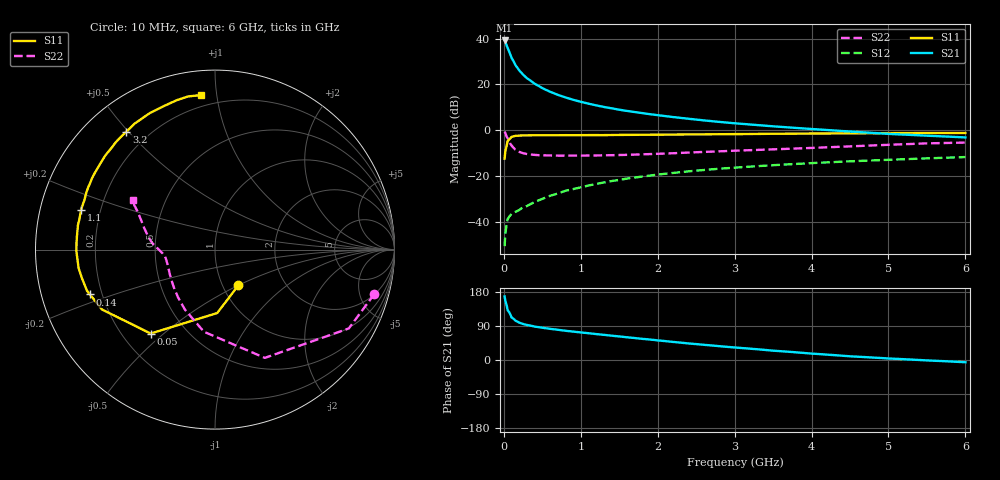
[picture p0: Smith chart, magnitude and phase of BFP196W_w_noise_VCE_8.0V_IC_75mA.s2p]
! Infineon Technologies  Discrete & RF Semiconductors
! BFP196W
! VCE =  8.0 V,  IC =  75 mA
! Common Emitter S-Parameters:  Jan 2017
# GHz  S  MA  R  50
!  f  S11  S21  S12  S22
! GHz  MAG  ANG  MAG  ANG  MAG  ANG  MAG  ANG
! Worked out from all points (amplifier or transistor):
!   77 points, 10 MHz to 6 GHz, reference 50 ohm
!   highest |S21| = 39.2 dB at 10 MHz (marker M1)
!   |S21| within 3 dB of that: start of sweep to 45.79 MHz
!   unconditionally stable (mu >= 1): 607.1 MHz to 3.244 GHz
!   at 130 MHz: K = 0.49, MSG = 33.0 dB, |S12| = -36.1 dB
!   at 2.2 GHz: K = 1.04, MAG = 11.0 dB, |S12| = -18.7 dB
!   at 6 GHz: K = 0.93, MSG = 4.3 dB, |S12| = -11.8 dB
!   lowest NFmin = 1.62 dB at 450 MHz
!   S11 on the Smith chart (normalised r, x): 10 MHz: 1.19, -0.50; 50 MHz: 0.32, -0.45; 140 MHz: 0.15, -0.17; 1.1 GHz: 0.13, +0.14; 3.2 GHz: 0.12, +0.49; 6 GHz: 0.13, +0.91
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0.01  0.238 -56.8  91.33 167.7  0.0029 78.9  0.9217 -15.6
0.02  0.3536 -88.0  85.06 155.7  0.0056 75.8  0.8653 -30.5
0.05  0.5894 -127.5  62.17 131.1  0.0114 50.2  0.664 -65.3
0.1  0.713 -152.1  38.07 112.3  0.0148 46.1  0.4621 -97.6
0.14  0.7403 -160.3  28.86 106.1  0.016 45.0  0.3881 -112.1
0.15  0.7493 -162.2  26.64 103.9  0.0163 44.8  0.3744 -116.5
0.2  0.7587 -168.0  20.28 98.7  0.0179 48.3  0.3354 -128.1
0.25  0.7668 -172.2  16.36 95.0  0.0206 50.7  0.3127 -136.8
0.3  0.7677 -175.0  13.67 92.4  0.0219 51.8  0.3001 -142.7
0.4  0.7724 -179.4  10.34 88.2  0.0267 56.8  0.2873 -151.0
0.5  0.7725 177.2  8.279 85.1  0.0314 60.3  0.2809 -156.3
0.6  0.7727 174.5  6.919 82.3  0.0366 61.7  0.2795 -160.0
0.7  0.7736 172.2  5.929 79.9  0.041 63.3  0.2769 -162.8
0.9  0.7743 167.5  4.61 75.0  0.0513 64.0  0.2772 -166.5
1.1  0.7784 163.4  3.792 70.7  0.0614 64.6  0.2784 -169.2
1.5  0.7848 155.7  2.795 62.2  0.0815 63.1  0.2857 -173.7
2.1  0.7968 144.5  2.025 49.8  0.1112 58.8  0.3079 -179.1
3.1  0.8198 128.4  1.37 31.5  0.155 50.0  0.3595 172.5
3.2  0.8222 126.9  1.328 29.9  0.159 49.1  0.3644 171.5
4.1  0.8434 114.3  1.032 15.6  0.1935 41.4  0.4144 162.7
5.1  0.8603 103.4  0.812 3.1  0.2276 33.3  0.4845 153.5
6  0.8647 95.1  0.693 -5.9  0.2577 26.3  0.5344 148.8
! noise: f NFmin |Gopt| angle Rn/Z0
0.45  1.62  0.56  -175  0.06
0.9  1.75  0.59  -169  0.07
1.9  2.61  0.7  -148  0.19
2.4  3.01  0.74  -143  0.31
